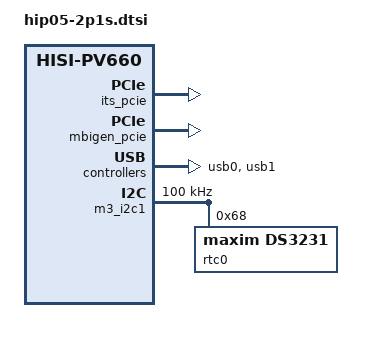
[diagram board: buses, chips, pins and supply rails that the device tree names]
/**
 * dts file for Hisilicon PhosphorV660 Hip05 Soc
 *
 * Copyright (C) 2014,2015 Hisilicon Ltd.
 *
 * This program is free software; you can redistribute it and/or modify
 * it under the terms of the GNU General Public License version 2 as
 * publishhed by the Free Software Foundation.
 *
 */

/ {
	compatible = "hisilicon,hip05-2p1s", "hisilicon,hisi-pv660";
	interrupt-parent = <&gic>;
	#address-cells = <2>;
	#size-cells = <2>;

	aliases {
		serial0 = &uart0;
	};

	psci {
		compatible = "arm,psci-0.2";
		method = "smc";
	};

	cpus {
		#address-cells = <1>;
		#size-cells = <0>;

		cpu-map {
			cluster0 {
				core0 {
					cpu = <&CPU0>;
				};

				core1 {
					cpu = <&CPU1>;
				};

				core2 {
					cpu = <&CPU2>;
				};

				core3 {
					cpu = <&CPU3>;
				};

				core4 {
					cpu = <&CPU4>;
				};

				core5 {
					cpu = <&CPU5>;
				};

				core6 {
					cpu = <&CPU6>;
				};

				core7 {
					cpu = <&CPU7>;
				};

				core8 {
					cpu = <&CPU8>;
				};

				core9 {
					cpu = <&CPU9>;
				};

				core10 {
					cpu = <&CPU10>;
				};

				core11 {
					cpu = <&CPU11>;
				};

				core12 {
					cpu = <&CPU12>;
				};

				core13 {
					cpu = <&CPU13>;
				};

				core14 {
					cpu = <&CPU14>;
				};

				core15 {
					cpu = <&CPU15>;
				};
			};

			cluster1 {
				core0 {
					cpu = <&CPU16>;
				};

				core1 {
					cpu = <&CPU17>;
				};

				core2 {
					cpu = <&CPU18>;
				};

				core3 {
					cpu = <&CPU19>;
				};

				core4 {
					cpu = <&CPU20>;
				};

				core5 {
					cpu = <&CPU21>;
				};

				core6 {
					cpu = <&CPU22>;
				};

				core7 {
					cpu = <&CPU23>;
				};

				core8 {
					cpu = <&CPU24>;
				};

				core9 {
					cpu = <&CPU25>;
				};

				core10 {
					cpu = <&CPU26>;
				};

				core11 {
					cpu = <&CPU27>;
				};

				core12 {
					cpu = <&CPU28>;
				};

				core13 {
					cpu = <&CPU29>;
				};

				core14 {
					cpu = <&CPU30>;
				};

				core15 {
					cpu = <&CPU31>;
				};
			};
		};

		CPU0: cpu@10000 {
			device_type = "cpu";
			compatible = "arm,armv8";
			reg = <0x10000>;
			enable-method = "psci";
		};

		CPU1: cpu@10001 {
			device_type = "cpu";
			compatible = "arm,armv8";
			reg = <0x10001>;
			enable-method = "psci";
		};

		CPU2: cpu@10002 {
			device_type = "cpu";
			compatible = "arm,armv8";
			reg = <0x10002>;
			enable-method = "psci";
		};

		CPU3: cpu@10003 {
			device_type = "cpu";
			compatible = "arm,armv8";
			reg = <0x10003>;
			enable-method = "psci";
		};

		CPU4: cpu@10100 {
			device_type = "cpu";
			compatible = "arm,armv8";
			reg = <0x10100>;
			enable-method = "psci";
		};

		CPU5: cpu@10101 {
			device_type = "cpu";
			compatible = "arm,armv8";
			reg = <0x10101>;
			enable-method = "psci";
		};

		CPU6: cpu@10102 {
			device_type = "cpu";
			compatible = "arm,armv8";
			reg = <0x10102>;
			enable-method = "psci";
		};

		CPU7: cpu@10103 {
			device_type = "cpu";
			compatible = "arm,armv8";
			reg = <0x10103>;
			enable-method = "psci";
		};

		CPU8: cpu@10200 {
			device_type = "cpu";
			compatible = "arm,armv8";
			reg = <0x10200>;
			enable-method = "psci";
		};

		CPU9: cpu@10201 {
			device_type = "cpu";
			compatible = "arm,armv8";
			reg = <0x10201>;
			enable-method = "psci";
		};

		CPU10: cpu@10202 {
			device_type = "cpu";
			compatible = "arm,armv8";
			reg = <0x10202>;
			enable-method = "psci";
		};

		CPU11: cpu@10203 {
			device_type = "cpu";
			compatible = "arm,armv8";
			reg = <0x10203>;
			enable-method = "psci";
		};

		CPU12: cpu@10300 {
			device_type = "cpu";
			compatible = "arm,armv8";
			reg = <0x10300>;
			enable-method = "psci";
		};

		CPU13: cpu@10301 {
			device_type = "cpu";
			compatible = "arm,armv8";
			reg = <0x10301>;
			enable-method = "psci";
		};

		CPU14: cpu@10302 {
			device_type = "cpu";
			compatible = "arm,armv8";
			reg = <0x10302>;
			enable-method = "psci";
		};

		CPU15: cpu@10303 {
			device_type = "cpu";
			compatible = "arm,armv8";
			reg = <0x10303>;
			enable-method = "psci";
		};

		CPU16: cpu@20000 {
			device_type = "cpu";
			compatible = "arm,armv8";
			reg = <0x20000>;
			enable-method = "psci";
		};

		CPU17: cpu@20001 {
			device_type = "cpu";
			compatible = "arm,armv8";
			reg = <0x20001>;
			enable-method = "psci";
		};

		CPU18: cpu@20002 {
			device_type = "cpu";
			compatible = "arm,armv8";
			reg = <0x20002>;
			enable-method = "psci";
		};

		CPU19: cpu@20003 {
			device_type = "cpu";
			compatible = "arm,armv8";
			reg = <0x20003>;
			enable-method = "psci";
		};

		CPU20: cpu@20100 {
			device_type = "cpu";
			compatible = "arm,armv8";
			reg = <0x20100>;
			enable-method = "psci";
		};

		CPU21: cpu@20101 {
			device_type = "cpu";
			compatible = "arm,armv8";
			reg = <0x20101>;
			enable-method = "psci";
		};

		CPU22: cpu@20102 {
			device_type = "cpu";
			compatible = "arm,armv8";
			reg = <0x20102>;
			enable-method = "psci";
		};

		CPU23: cpu@20103 {
			device_type = "cpu";
			compatible = "arm,armv8";
			reg = <0x20103>;
			enable-method = "psci";
		};

		CPU24: cpu@20200 {
			device_type = "cpu";
			compatible = "arm,armv8";
			reg = <0x20200>;
			enable-method = "psci";
		};

		CPU25: cpu@20201 {
			device_type = "cpu";
			compatible = "arm,armv8";
			reg = <0x20201>;
			enable-method = "psci";
		};

		CPU26: cpu@20202 {
			device_type = "cpu";
			compatible = "arm,armv8";
			reg = <0x20202>;
			enable-method = "psci";
		};

		CPU27: cpu@20203 {
			device_type = "cpu";
			compatible = "arm,armv8";
			reg = <0x20203>;
			enable-method = "psci";
		};

		CPU28: cpu@20300 {
			device_type = "cpu";
			compatible = "arm,armv8";
			reg = <0x20300>;
			enable-method = "psci";
		};

		CPU29: cpu@20301 {
			device_type = "cpu";
			compatible = "arm,armv8";
			reg = <0x20301>;
			enable-method = "psci";
		};

		CPU30: cpu@20302 {
			device_type = "cpu";
			compatible = "arm,armv8";
			reg = <0x20302>;
			enable-method = "psci";
		};

		CPU31: cpu@20303 {
			device_type = "cpu";
			compatible = "arm,armv8";
			reg = <0x20303>;
			enable-method = "psci";
		};
	};

	gic: interrupt-controller@6d000000 {
		compatible = "hisilicon,gic-v3";
                #interrupt-cells = <3>;
                #address-cells = <2>;
                #size-cells = <2>;
                ranges;
                interrupt-controller;
                #redistributor-regions = <2>;
                redistributor-stride = <0x0 0x30000>;
		reg = <0x0 0x6d000000 0x0 0x10000>,	/* GICD C*/
		      <0x0 0x6d100000 0x0 0x300000>,	/* GICR C*/
		      <0x0 0x4d100000 0x0 0x300000>,	/* GICR A*/
		      <0x0 0xfe000000 0x0 0x10000>,	/* GICC */
		      <0x0 0xfe010000 0x0 0x10000>,     /* GICH */
		      <0x0 0xfe020000 0x0 0x10000>;     /* GICV */
		interrupts = <1 9 0xff04>;

		its_pc: interrupt-controller@6c000000 {
			compatible = "arm,gic-v3-its";
			msi-controller;
			reg = <0x0 0x6c000000 0x0 0x1000000>;
		};

		its_pa: interrupt-controller@4c000000 {
			compatible = "arm,gic-v3-its";
			msi-controller;
			reg = <0x0 0x4c000000 0x0 0x1000000>;
		};

		its_dsa: interrupt-controller@c6000000 {
			compatible = "arm,gic-v3-its";
			msi-controller;
			reg = <0x0 0xc6000000 0x0 0x1000000>;
		};

		its_m3: interrupt-controller@a3000000 {
			compatible = "arm,gic-v3-its";
			msi-controller;
			reg = <0x0 0xa3000000 0x0 0x1000000>;
		};

		its_pcie: interrupt-controller@b7000000 {
			compatible = "arm,gic-v3-its";
			msi-controller;
			reg = <0x0 0xb7000000 0x0 0x1000000>;
		};
	};

	gic1: interrupt-controller@4d000000 {
		compatible = "hisilicon,gic-v3";
		#interrupt-cells = <3>;
		#address-cells = <2>;
		#size-cells = <2>;
		interrupt-controller;
		reg = <0x0 0x4d000000 0x0 0x10000>;
	};

	smmu_pa@40040000 {
		compatible = "hisilicon,smmu-v1";
		reg = <0x0 0x40040000 0x0 0x1000>;
		#global-interrupts = <1>;
		interrupts = <0 188 4>,
			     <0 188 4>;
		smmu-cb-memtype = <0 1>;
		smmu-bypass-vmid = <0xff>;
	};

	smmu_pc@60040000 {
		compatible = "hisilicon,smmu-v1";
		reg = <0x0 0x60040000 0x0 0x1000>;
		#global-interrupts = <1>;
		interrupts = <0 316 4>,
			     <0 316 4>;
		smmu-cb-memtype = <0 1>;
		smmu-bypass-vmid = <0xff>;
	};

	smmu_dsa@c0040000 {
		compatible = "hisilicon,smmu-v1";
		interrupt-parent = <&mbigen_m3>;
		reg = <0x0 0xc0040000 0x0 0x1000>;
		#global-interrupts = <1>;
		interrupts = <69 4>,
			     <69 4>;
		smmu-cb-memtype = <0 1>;
		smmu-bypass-vmid = <0xff>;
	};

	smmu_m3@a0040000 {
		compatible = "hisilicon,smmu-v1";
		interrupt-parent = <&mbigen_m3>;
		reg = <0x0 0xa0040000 0x0 0x1000>;
		#global-interrupts = <1>;
		interrupts = <65 1>,
			     <65 1>;
		smmu-cb-memtype = <0 1>;
		smmu-bypass-vmid = <0xff>;
	};

	smmu_pcie@b0040000 {
		compatible = "hisilicon,smmu-v1";
		interrupt-parent = <&mbigen_m3>;
		reg = <0x0 0xb0040000 0x0 0x1000>;
		#global-interrupts = <1>;
		interrupts = <71 1>,
			     <71 1>;
		smmu-cb-memtype = <0 1>, <1 3>;
		smmu-bypass-vmid = <0xff>;
	};

	timer {
		compatible = "arm,armv8-timer";
		interrupts = <1 13 4>,
			     <1 14 4>,
			     <1 11 4>,
			     <1 10 4>;
	};

	pmu {
		compatible = "arm,armv8-pmuv3";
		interrupts = <1 7 4>;
	};

	peripherals {
		compatible = "simple-bus";
		#address-cells = <1>;
		#size-cells = <1>;
		ranges = <0x0 0x00000000 0x0 0xffffffff>;

		peri_clk: peri_clk {
			compatible = "fixed-clock";
			#clock-cells = <0>;
			clock-frequency = <200000000>;
		};

		m3_clk: m3_clk {
			compatible = "fixed-clock";
			#clock-cells = <0>;
			clock-frequency = <175000000>;
		};

		mbigen_pa: interrupt-controller@4c030000 {
			compatible = "hisilicon,mbi-gen";
			msi-parent = <&its_pa>;
			interrupt-controller;
			#interrupt-cells = <2>;
			reg = <0x4c030000 0x10000>;
		};

		mbigen_pc: interrupt-controller@6c030000 {
			compatible = "hisilicon,mbi-gen";
			msi-parent = <&its_pc>;
			interrupt-controller;
			#interrupt-cells = <2>;
			reg = <0x6c030000 0x10000>;
		};

		mbigen_dsa: interrupt-controller@c6030000 {
			compatible = "hisilicon,mbi-gen";
			msi-parent = <&its_dsa>;
			interrupt-controller;
			#interrupt-cells = <2>;
			reg = <0xc6030000 0x10000>;
		};

		mbigen_m3: interrupt-controller@a3030000 {
			compatible = "hisilicon,mbi-gen";
			msi-parent = <&its_m3>;
			interrupt-controller;
			#interrupt-cells = <2>;
			reg = <0xa3030000 0x10000>;
		};

		mbigen_pcie: interrupt-controller@b7030000 {
			compatible = "hisilicon,mbi-gen";
			msi-parent = <&its_pcie>;
			interrupt-controller;
			#interrupt-cells = <2>;
			reg = <0xb7030000 0x10000>;
		};

		cpld@78000000 {
			compatible = "hisilicon,p660-cpld";
			reg = <0x78000000 0x100>;
		};

		uart0: uart@60300000 {
			compatible = "snps,dw-apb-uart";
			reg = <0x60300000 0x10000>;
			interrupts = <0 317 4>;
			clocks = <&peri_clk>;
			clock-names = "apb_pclk";
			reg-shift = <2>;
			reg-io-width = <4>;
			status = "disabled";
		};

		usb0: ehci@a1000000 {
			compatible = "generic-ehci";
			interrupt-parent = <&mbigen_m3>;
			reg = <0xa1000000 0x10000>;
			interrupts = <20 4>;
			dma-coherent;
		};

		usb1: ohci@a1010000 {
			compatible = "generic-ohci";
			interrupt-parent = <&mbigen_m3>;
			reg = <0xa1010000 0x10000>;
			interrupts = <19 4>;
			dma-coherent;
		};

		m3_i2c1: i2c@a00f0000 {
			#address-cells = <1>;
			#size-cells = <0>;
			compatible = "snps,designware-i2c";
			interrupt-parent = <&mbigen_m3>;
			reg = <0xa00f0000 0x10000>;
			interrupts = <9 1>;
			clocks = <&m3_clk>;
			clock-frequency = <100000>;

			rtc0: ds3231@68 {
				compatible = "maxim,ds3231";
				reg = <0x68>;
			};
		};
	};

};
